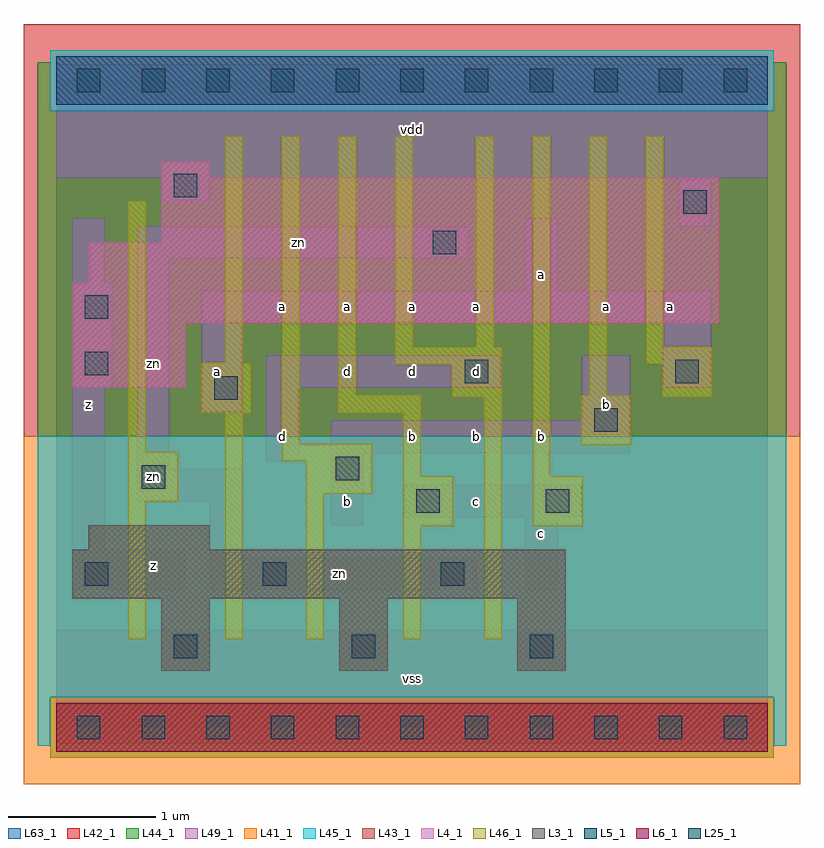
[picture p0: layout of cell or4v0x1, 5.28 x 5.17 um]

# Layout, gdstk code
import gdstk
lib = gdstk.Library(unit=1e-6, precision=1e-09)
def R(c, l, rs):  # rectangles x0, y0, x1, y1
    for r in rs: c.add(gdstk.rectangle(r[:2], r[2:], *l))
def A(c, l, x, y, w, h, nx, ny, dx, dy):  # array of equal rectangles
    R(c, l, [(x+i*dx, y+j*dy, x+i*dx+w, y+j*dy+h) for i in range(nx) for j in range(ny)])
L3_1 = (3, 1)
L4_1 = (4, 1)
L5_1 = (5, 1)
L6_1 = (6, 1)
L25_1 = (25, 1)
L41_1 = (41, 1)
L42_1 = (42, 1)
L43_1 = (43, 1)
L44_1 = (44, 1)
L45_1 = (45, 1)
L46_1 = (46, 1)
L49_1 = (49, 1)
L63_1 = (63, 1)

or4v0x1 = lib.new_cell('or4v0x1')
A(or4v0x1, L3_1, 0.715, 0.385, 0.33, 0.495, 3, 1, 1.21, 0)
R(or4v0x1, L3_1, [(0.11,0.88,3.465,1.21), (0.22,1.21,1.045,1.375)])
R(or4v0x1, L4_1, [(0.11,2.31,0.88,2.75), (0.11,2.75,4.51,3.025), (0.22,3.025,4.51,3.3), (0.715,3.3,4.51,3.74), (0.715,3.74,1.045,3.85)])
R(or4v0x1, L5_1, [(0,4.235,4.84,4.565)])
R(or4v0x1, L6_1, [(0,-0.165,4.84,0.165)])
A(or4v0x1, L25_1, 0.14, -0.08, 0.16, 0.16, 11, 2, 0.44, 4.4)
A(or4v0x1, L25_1, 0.8, 0.47, 0.16, 0.16, 3, 1, 1.21, 0)
A(or4v0x1, L25_1, 0.195, 0.965, 0.16, 0.16, 3, 1, 1.21, 0)
R(or4v0x1, L25_1, [(2.45,1.46,2.61,1.62), (3.33,1.46,3.49,1.62), (0.58,1.625,0.74,1.785), (1.9,1.68,2.06,1.84), (3.66,2.01,3.82,2.17), (1.075,2.23,1.235,2.39), (2.78,2.34,2.94,2.5), (4.21,2.34,4.37,2.5), (0.195,2.395,0.355,2.555), (0.195,2.78,0.355,2.94), (2.56,3.22,2.72,3.38), (4.265,3.495,4.425,3.655), (0.8,3.605,0.96,3.765)])
R(or4v0x1, L41_1, [(-0.22,-0.385,5.06,1.98)])
R(or4v0x1, L42_1, [(-0.22,1.98,5.06,4.785)])
A(or4v0x1, L43_1, 0.715, 0.385, 0.33, 0.495, 3, 1, 1.21, 0)
R(or4v0x1, L43_1, [(0,-0.165,4.84,0.165), (0.11,0.88,3.465,1.21), (0.22,1.21,1.045,1.375), (0.11,2.31,0.88,2.75), (0.11,2.75,4.51,3.025), (0.22,3.025,4.51,3.3), (0.715,3.3,4.51,3.74), (0.715,3.74,1.045,3.85), (0,4.235,4.84,4.565)])
R(or4v0x1, L44_1, [(-0.04,-0.205,4.88,0.205), (-0.125,1.98,4.965,4.195), (-0.125,4.195,-0.04,4.525), (4.88,4.195,4.965,4.525)])
R(or4v0x1, L45_1, [(-0.125,-0.125,-0.04,0.205), (4.88,-0.125,4.965,0.205), (-0.125,0.205,4.965,1.98), (-0.04,4.195,4.88,4.605)])
R(or4v0x1, L46_1, [(0.49,0.6,0.61,1.535), (1.15,0.6,1.27,2.14), (1.7,0.6,1.82,1.59), (2.36,0.6,2.48,1.37), (2.91,0.6,3.03,2.25), (2.36,1.37,2.7,1.71), (3.24,1.37,3.58,1.71), (0.49,1.535,0.83,1.875), (1.7,1.59,2.15,1.81), (2.36,1.71,2.48,2.14), (3.24,1.71,3.36,4.02), (1.535,1.81,2.15,1.93), (0.49,1.875,0.61,3.58), (3.57,1.92,3.91,2.26), (1.535,1.93,1.655,4.02), (0.985,2.14,1.325,2.48), (1.92,2.14,2.48,2.26), (2.69,2.25,3.03,2.47), (4.12,2.25,4.46,2.47), (1.92,2.26,2.04,4.02), (3.625,2.26,3.745,4.02), (2.305,2.47,3.03,2.59), (4.01,2.47,4.46,2.59), (1.15,2.48,1.27,4.02), (2.305,2.59,2.425,4.02), (2.855,2.59,2.975,4.02), (4.01,2.59,4.13,4.02)])
R(or4v0x1, L49_1, [(0,-0.11,4.84,0.66), (0.11,0.935,0.88,1.21), (1.045,0.935,2.86,1.155), (3.19,0.935,3.41,1.43), (1.045,1.155,1.265,1.54), (0.11,1.21,0.33,2.31), (1.87,1.375,2.09,1.87), (2.365,1.43,3.575,1.65), (0.55,1.54,1.265,1.76), (0.55,1.76,0.77,3.19), (1.43,1.815,1.65,2.31), (1.87,1.87,3.905,2.09), (3.575,2.09,3.905,2.53), (0.99,2.145,1.265,2.75), (0.11,2.31,0.385,3.025), (1.43,2.31,3.025,2.53), (4.125,2.31,4.455,2.75), (0.99,2.75,4.455,2.97), (3.19,2.97,3.41,3.465), (0.11,3.025,0.33,3.465), (0.55,3.19,2.805,3.41), (4.235,3.41,4.455,3.74), (0.715,3.575,1.045,3.74), (0,3.74,4.84,4.51)])
R(or4v0x1, L63_1, [(0,0,4.84,4.4)])
or4v0x1.add(gdstk.Label('zn', (0.66,1.705), layer=49, texttype=1))
or4v0x1.add(gdstk.Label('z', (0.66,1.1), layer=49, texttype=1))
or4v0x1.add(gdstk.Label('z', (0.22,2.2), layer=49, texttype=1))
or4v0x1.add(gdstk.Label('zn', (0.66,2.475), layer=49, texttype=1))
or4v0x1.add(gdstk.Label('a', (1.1,2.42), layer=49, texttype=1))
or4v0x1.add(gdstk.Label('d', (1.54,1.98), layer=49, texttype=1))
or4v0x1.add(gdstk.Label('a', (1.54,2.86), layer=49, texttype=1))
or4v0x1.add(gdstk.Label('vss', (2.42,0.33), layer=49, texttype=1))
or4v0x1.add(gdstk.Label('b', (1.98,1.54), layer=49, texttype=1))
or4v0x1.add(gdstk.Label('zn', (1.925,1.045), layer=49, texttype=1))
or4v0x1.add(gdstk.Label('d', (1.98,2.42), layer=49, texttype=1))
or4v0x1.add(gdstk.Label('b', (2.42,1.98), layer=49, texttype=1))
or4v0x1.add(gdstk.Label('d', (2.42,2.42), layer=49, texttype=1))
or4v0x1.add(gdstk.Label('a', (2.42,2.86), layer=49, texttype=1))
or4v0x1.add(gdstk.Label('a', (1.98,2.86), layer=49, texttype=1))
or4v0x1.add(gdstk.Label('zn', (1.65,3.3), layer=49, texttype=1))
or4v0x1.add(gdstk.Label('vdd', (2.42,4.07), layer=49, texttype=1))
or4v0x1.add(gdstk.Label('c', (2.86,1.54), layer=49, texttype=1))
or4v0x1.add(gdstk.Label('c', (3.3,1.32), layer=49, texttype=1))
or4v0x1.add(gdstk.Label('b', (2.86,1.98), layer=49, texttype=1))
or4v0x1.add(gdstk.Label('d', (2.86,2.42), layer=49, texttype=1))
or4v0x1.add(gdstk.Label('b', (3.3,1.98), layer=49, texttype=1))
or4v0x1.add(gdstk.Label('b', (3.74,2.2), layer=49, texttype=1))
or4v0x1.add(gdstk.Label('a', (3.74,2.86), layer=49, texttype=1))
or4v0x1.add(gdstk.Label('a', (2.86,2.86), layer=49, texttype=1))
or4v0x1.add(gdstk.Label('a', (3.3,3.08), layer=49, texttype=1))
or4v0x1.add(gdstk.Label('a', (4.18,2.86), layer=49, texttype=1))

lib.write_gds('or4v0x1.gds')
